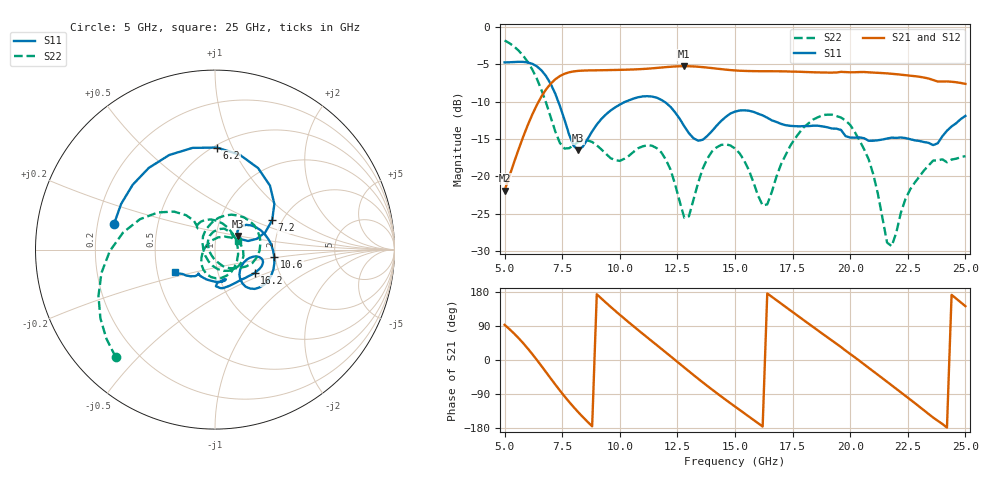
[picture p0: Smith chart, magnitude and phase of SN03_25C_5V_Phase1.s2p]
!File name = SN03_25C_5V_Phase1.s2p
!Date = 2/3/2014
!Time = 2:34 PM
!Test duration(min) = 0.07
!Test = SPars
!MPTS version = 7.120.8
!Comments =
!set_LD1(binary) = 1
!set_LD2(binary) = 524286
!test = SPars
!date_code = 20140203
!file_name = SN03_25C_5V_Phase1.s2p
!VREF(V) = 5.000
!VREF(mA) = 0.001
# GHz  S  DB  R  50
!%	Freq(GHz)  S11(dB)  S11(deg)  S21(dB)  S21(deg)  S12(dB)  S12(deg)  S22(dB)  S22(deg)
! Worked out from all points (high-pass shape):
!   101 points, 5 GHz to 25 GHz, reference 50 ohm
!   highest |S21| = -5.23 dB at 12.8 GHz (marker M1); lowest = -21.9 dB at 5 GHz (marker M2)
!   |S21| within 3 dB of the highest: 6.829 GHz to end of sweep
!   lowest |S11| = -16.5 dB at 8.2 GHz (marker M3), VSWR 1.35, Z = 63.9 + j9.91 ohm
!   |S11| at or under -10 dB: 7.332 GHz to 10.24 GHz (2.905 GHz wide, 33.1 % of centre); 11.94 GHz to end of sweep
!   |S22| runs from -29.4 to -1.8 dB; largest |S21 - S12| = 0.00082
!   S11 on the Smith chart (normalised r, x): 5 GHz: 0.27, +0.12; 6.2 GHz: 0.52, +0.87; 7.2 GHz: 1.78, +0.67; 10.6 GHz: 1.97, -0.18; 16.2 GHz: 1.50, -0.42; 25 GHz: 0.62, -0.16
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5  -4.72 165.9  -21.89 92.8  -21.91 92.7  -1.78 -132.9
5.6  -4.64 129.0  -16.44 58.2  -16.45 58.2  -3.12 -158.3
6.2  -4.91 89.0  -11.72 15.7  -11.73 15.8  -5.67 169.5
6.8  -6.56 49.3  -8.34 -32.2  -8.36 -32.2  -10.13 137.2
7.2  -8.92 27.2  -6.99 -64.8  -6.99 -64.8  -13.98 126.2
7.6  -12.40 14.4  -6.25 -95.8  -6.26 -95.9  -16.26 130.1
8.2  -16.50 30.4  -5.86 -137.9  -5.86 -138.0  -15.39 124.3
8.4  -16.00 38.4  -5.82 -150.7  -5.83 -150.8  -15.16 117.3
9.4  -11.69 28.6  -5.76 151.3  -5.76 151.2  -16.98 59.5
10.6  -9.56 -7.0  -5.66 88.8  -5.67 88.8  -16.70 -41.8
11.8  -9.74 -40.2  -5.41 29.7  -5.42 29.7  -16.77 -108.4
12.8  -13.29 -49.6  -5.23 -19.9  -5.23 -19.9  -25.56 153.0
13.8  -14.57 -17.0  -5.42 -68.4  -5.42 -68.4  -17.61 22.7
15  -11.32 -12.3  -5.80 -122.8  -5.81 -122.8  -16.27 -44.4
16.2  -11.82 -30.4  -5.91 -175.6  -5.91 -175.6  -23.89 -147.9
17.4  -13.23 -56.4  -5.95 131.1  -5.96 131.0  -15.90 92.7
18.4  -13.20 -76.7  -6.04 86.7  -6.05 86.7  -12.37 48.5
20.2  -14.81 -80.3  -6.04 7.0  -6.04 7.0  -14.05 -28.0
21.8  -14.81 -73.3  -6.25 -66.8  -6.25 -66.8  -29.35 -171.7
22.4  -14.86 -85.9  -6.43 -94.8  -6.43 -94.8  -23.02 120.7
23.4  -15.50 -119.5  -6.88 -142.3  -6.88 -142.4  -18.55 76.3
25  -11.89 -151.3  -7.60 142.1  -7.61 142.1  -17.28 20.8
